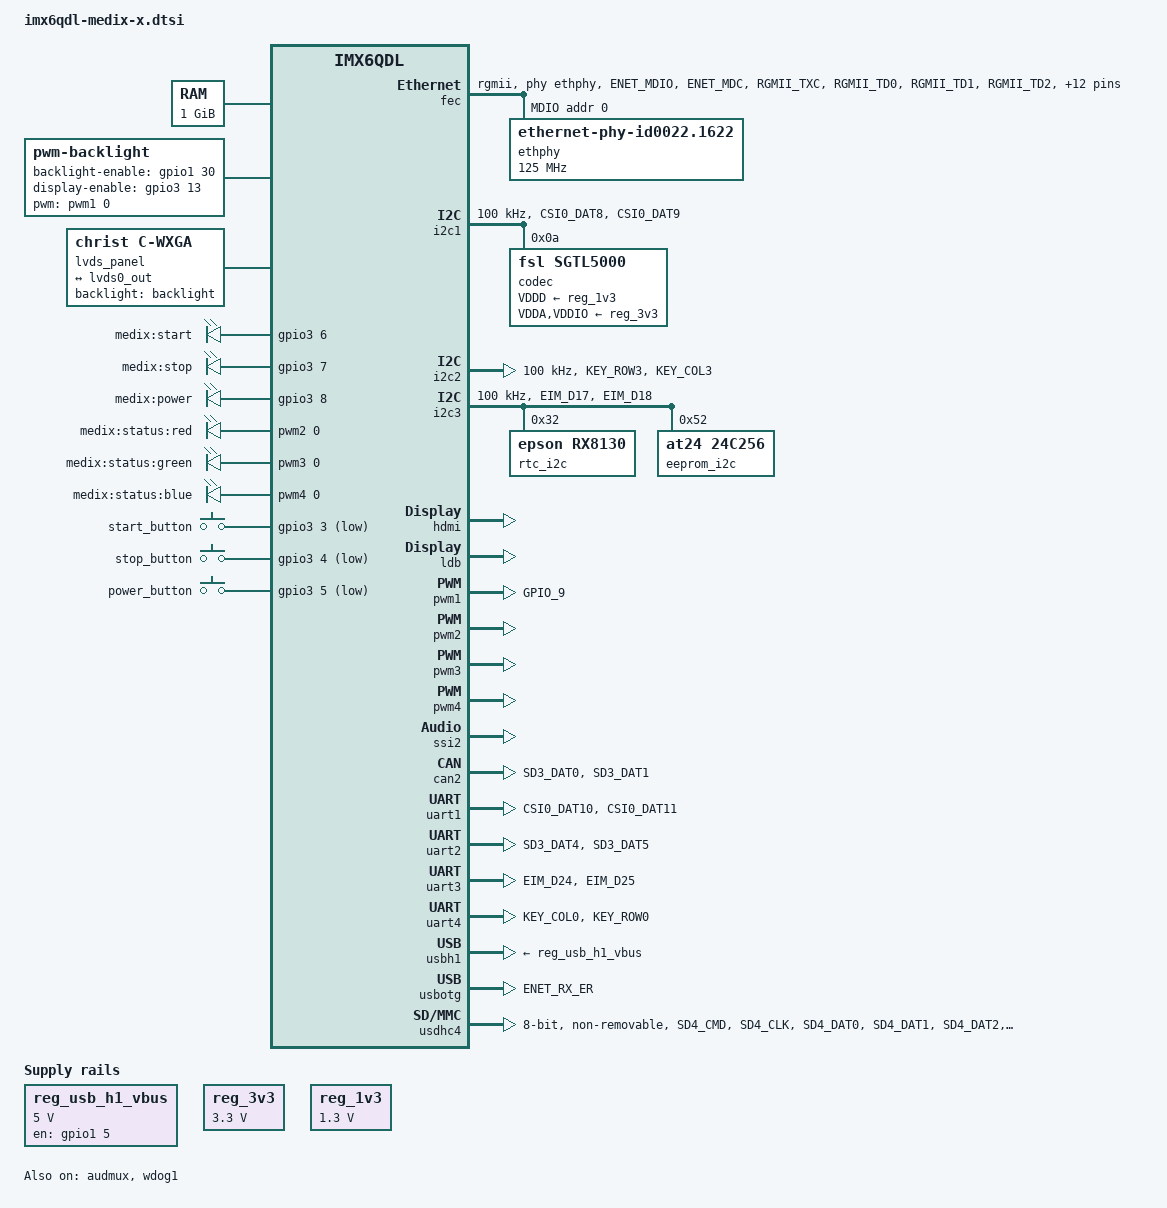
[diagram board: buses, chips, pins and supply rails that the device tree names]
// SPDX-License-Identifier: GPL-2.0+
/*
 * Copyright (C) 2019 Christ Electronic Systems GmbH
 * Peter Fink <pfink@christ-es.de>
 * Copyright 2012-2015 Freescale Semiconductor, Inc.
 * Copyright 2011 Linaro Ltd.
 *
 * The code contained herein is licensed under the GNU General Public
 * License. You may obtain a copy of the GNU General Public License
 * Version 2 or later at the following locations:
 *
 * http://www.opensource.org/licenses/gpl-license.html
 * http://www.gnu.org/copyleft/gpl.html
 */

#include <dt-bindings/clock/imx6qdl-clock.h>
#include <dt-bindings/gpio/gpio.h>
#include <dt-bindings/input/input.h>

/ {
	aliases {
		backlight_lvds = &backlight;
		fb_lvds = &lvds_panel;
		t_lvds = "/panel/panel-timing";
		ldb = &ldb;
	};

	chosen {
		stdout-path = &uart1;
	};

	memory@10000000 {
		reg = <0x10000000 0x40000000>;
	};

	regulators {
		compatible = "simple-bus";
		#address-cells = <1>;
		#size-cells = <0>;

		reg_usb_h1_vbus: regulator@1 {
			compatible = "regulator-fixed";
			reg = <0>;
			regulator-name = "usb_h1_vbus";
			regulator-min-microvolt = <5000000>;
			regulator-max-microvolt = <5000000>;
			pinctrl-names = "default";
			pinctrl-0 = <&pinctrl_usbhub_reset>; /* smsc2415 reset */
			gpio = <&gpio1 5 0>;
			enable-active-high;
			startup-delay-us = <2000>;
			status = "okay";
		};

		reg_3v3: regulator@2 {
			compatible = "regulator-fixed";
			regulator-name = "3P3V";
			regulator-min-microvolt = <3300000>;
			regulator-max-microvolt = <3300000>;
			regulator-always-on;
		};

		reg_1v3: regulator@3 {
			compatible = "regulator-fixed";
			regulator-name = "1P3V";
			regulator-min-microvolt = <1300000>;
			regulator-max-microvolt = <1300000>;
			regulator-always-on;
		};
	};

	backlight: backlight {
		compatible = "pwm-backlight";
		pwms = <&pwm1 0 1000000>;
		brightness-levels = <0 4 8 16 32 64 128 255>;
		default-brightness-level = <7>;
		pinctrl-0 = <&pinctrl_bkl>;
		backlight-enable-gpios = <&gpio1 30 0>;
		display-enable-gpios = <&gpio3 13 0>;
		pwm-on-delay-ms = <150>;
		pwm-off-delay-ms = <50>;
		status = "okay";
	};

	lvds_panel: panel {
		compatible = "christ,c-wxga", "panel-lvds";
		backlight = <&backlight>;

		width-mm = <261>;
		height-mm = <163>;

		data-mapping = "jeida-24";

		panel-timing {
			/* 1280x800 @58Hz */
			clock-frequency = <58339629>;
			hactive = <1280>;
			vactive = <800>;
			hsync-len = <40>;
			hfront-porch = <64>;
			hback-porch = <64>;
			vsync-len = <6>;
			vfront-porch = <5>;
			vback-porch = <5>;
		};

		port {
			panel_in: endpoint {
				remote-endpoint = <&lvds0_out>;
			};
		};
	};

	sound {
		compatible = "fsl,imx6qdl-medix-xx-sgtl5000",
			     "fsl,imx-audio-sgtl5000";
		model = "imx6q-medix-xx-sgtl5000";
		ssi-controller = <&ssi2>;
		audio-codec = <&codec>;
		audio-routing =
			"MIC_IN", "Mic Jack",
			"Ext Spk", "LINE_OUT";
		mux-int-port = <2>;
		mux-ext-port = <3>;
	};

	gpio-leds {
		compatible = "gpio-leds";
		pinctrl-names = "default";
		pinctrl-0 = <&pinctrl_front_leds>;

		led-start {
			label = "medix:start";
			gpios = <&gpio3 6 0>;
			default-state = "off";
		};

		led-stop {
			label = "medix:stop";
			gpios = <&gpio3 7 0>;
			default-state = "off";
		};

		led-power {
			label = "medix:power";
			gpios = <&gpio3 8 0>;
			linux,default-trigger = "heartbeat";
		};
	};

	pwm-leds {
		compatible = "pwm-leds";
		pinctrl-names = "default";
		pinctrl-0 = <&pinctrl_pwm_rgbstatus>;

		red {
			label = "medix:status:red";
			pwms = <&pwm2 0 50000>;
			max-brightness = <100>;
			initial-brightness = <0>;
		};

		green {
			label = "medix:status:green";
			pwms = <&pwm3 0 50000>;
			max-brightness = <100>;
			initial-brightness = <0>;
		};

		blue {
			label = "medix:status:blue";
			pwms = <&pwm4 0 50000>;
			max-brightness = <100>;
			initial-brightness = <0>;
		};

	};

	gpio-keys {
		compatible = "gpio-keys";
		pinctrl-names = "default";
		pinctrl-0 = <&pinctrl_front_keys>;

		start_button {
			label = "start_button";
			gpios = <&gpio3 3 GPIO_ACTIVE_LOW>;
			debounce-interval = <10>;
			linux,code = <102>; /* KEY_HOME */
		};

		stop_button {
			label = "stop_button";
			gpios = <&gpio3 4 GPIO_ACTIVE_LOW>;
			debounce-interval = <10>;
			linux,code = <119>; /* KEY_PAUSE */
		};

		power_button {
			label = "power_button";
			gpios = <&gpio3 5 GPIO_ACTIVE_LOW>;
			debounce-interval = <10>;
			linux,code = <113>; /* KEY_MUTE */
		};
	};
};

&clks {
	assigned-clocks = <&clks IMX6QDL_CLK_LDB_DI0_SEL>,
			  <&clks IMX6QDL_CLK_LDB_DI1_SEL>;
	assigned-clock-parents = <&clks IMX6QDL_CLK_PLL5_VIDEO>,
				 <&clks IMX6QDL_CLK_PLL5_VIDEO>;
};

&fec {
	pinctrl-names = "default";
	pinctrl-0 = <&pinctrl_enet>;
	phy-mode = "rgmii";
	interrupts-extended = <&gpio1 6 IRQ_TYPE_LEVEL_HIGH>,
			      <&intc 0 119 IRQ_TYPE_LEVEL_HIGH>;
	fsl,err006687-workaround-present;
	phy-handle = <&ethphy>;
	phy-reset-gpios = <&gpio1 25 GPIO_ACTIVE_LOW>;
	phy-reset-duration = <1>;
	txen-skew-ps = <0>;
	txc-skew-ps = <1680>;
	rxdv-skew-ps = <0>;
	rxc-skew-ps = <1680>;
	rxd0-skew-ps = <0>;
	rxd1-skew-ps = <0>;
	rxd2-skew-ps = <0>;
	rxd3-skew-ps = <0>;
	txd0-skew-ps = <0>;
	txd1-skew-ps = <0>;
	txd2-skew-ps = <0>;
	txd3-skew-ps = <0>;
	status = "okay";

	mdio {
		#address-cells = <1>;
		#size-cells = <0>;

		ethphy: ethernet-phy@0 {
			compatible = "ethernet-phy-id0022.1622", "ethernet-phy-ieee802.3-c22";
			reg = <0>;
			max-speed = <1000>;
			clock-frequency = <125000000>;
		};
	};
};

&i2c1 {
	clock-frequency = <100000>;
	pinctrl-names = "default";
	pinctrl-0 = <&pinctrl_i2c1>;
	status = "okay";

	codec: sgtl5000@0a {
		compatible = "fsl,sgtl5000";
		reg = <0x0a>;
		clocks = <&clks 201>;
		VDDD-supply = <&reg_1v3>;
		VDDA-supply = <&reg_3v3>;
		VDDIO-supply = <&reg_3v3>;
	};

};

&i2c2 {
	/* i2c2@HDMI */
	clock-frequency = <100000>;
	pinctrl-names = "default";
	pinctrl-0 = <&pinctrl_i2c2>;
	status = "okay";
};

&i2c3 {
	clock-frequency = <100000>;
	pinctrl-names = "default";
	pinctrl-0 = <&pinctrl_i2c3>;
	status = "okay";

        rtc_i2c: rtc@32 {
                compatible = "epson,rx8130";
                reg = <0x32>;
        };

        eeprom_i2c: at24@52 {
                compatible = "at24,24c256";
                pagesize = <32>;
                reg = <0x52>;
        };
};

&hdmi {
	pinctrl-names = "default";
	ddc-i2c-bus = <&i2c2>;
	status = "okay";
};

&audmux {
	pinctrl-names = "default";
	pinctrl-0 = <&pinctrl_audmux>;
	status = "okay";
};

&iomuxc {
	pinctrl-names = "default";
	pinctrl-0 = <&pinctrl_gpios>;

	imx6qdl-medix {
		pinctrl_enet: enetgrp {
			fsl,pins = <
				MX6QDL_PAD_ENET_MDIO__ENET_MDIO		0x1b0b0
				MX6QDL_PAD_ENET_MDC__ENET_MDC		0x1b0b0
				MX6QDL_PAD_RGMII_TXC__RGMII_TXC		0x1b0b0
				MX6QDL_PAD_RGMII_TD0__RGMII_TD0		0x1b0b0
				MX6QDL_PAD_RGMII_TD1__RGMII_TD1		0x1b0b0
				MX6QDL_PAD_RGMII_TD2__RGMII_TD2		0x1b0b0
				MX6QDL_PAD_RGMII_TD3__RGMII_TD3		0x1b0b0
				MX6QDL_PAD_RGMII_TX_CTL__RGMII_TX_CTL	0x1b0b0
				MX6QDL_PAD_ENET_REF_CLK__ENET_TX_CLK	0x1b0b0
				MX6QDL_PAD_RGMII_RXC__RGMII_RXC		0x1b0b0
				MX6QDL_PAD_RGMII_RD0__RGMII_RD0		0x1b0b0
				MX6QDL_PAD_RGMII_RD1__RGMII_RD1		0x1b0b0
				MX6QDL_PAD_RGMII_RD2__RGMII_RD2		0x1b0b0
				MX6QDL_PAD_RGMII_RD3__RGMII_RD3		0x1b0b0
				MX6QDL_PAD_RGMII_RX_CTL__RGMII_RX_CTL	0x1b0b0
				MX6QDL_PAD_ENET_CRS_DV__GPIO1_IO25	0x1b0b0 /* reset pin */
				MX6QDL_PAD_GPIO_6__ENET_IRQ		0x000b1 /* workaround for err006687 */
			>;
		};

		pinctrl_bkl: gpio_bkl {
			fsl,pins = <
				MX6QDL_PAD_EIM_DA13__GPIO3_IO13		0x130b0 /* PD */
				MX6QDL_PAD_ENET_TXD0__GPIO1_IO30	0x130b0 /* PD */
			>;
		};

		pinctrl_audmux: audmuxgrp {
			fsl,pins = <
				MX6QDL_PAD_CSI0_DAT4__AUD3_TXC			0x130b0
				MX6QDL_PAD_CSI0_DAT5__AUD3_TXD			0x110b0
				MX6QDL_PAD_CSI0_DAT6__AUD3_TXFS			0x130b0
				MX6QDL_PAD_CSI0_DAT7__AUD3_RXD			0x130b0
				/* SGTL5000 sys_mclk */
				MX6QDL_PAD_GPIO_0__CCM_CLKO1			0x03088
			>;
		};

		pinctrl_front_leds: gpio_front_leds {
			fsl,pins = <
				MX6QDL_PAD_EIM_DA6__GPIO3_IO06	0x130b0 /* FRONT_O1 PD */
				MX6QDL_PAD_EIM_DA7__GPIO3_IO07	0x130b0 /* FRONT_O2 PD */
				MX6QDL_PAD_EIM_DA8__GPIO3_IO08	0x130b0 /* FRONT_O3 PD */
			>;
		};

		pinctrl_front_keys: gpio_front_keys {
			fsl,pins = <
				MX6QDL_PAD_EIM_DA3__GPIO3_IO03	0x1b0b1 /* FRONT_I1 PU */
				MX6QDL_PAD_EIM_DA4__GPIO3_IO04	0x1b0b1 /* FRONT_I2 PU */
				MX6QDL_PAD_EIM_DA5__GPIO3_IO05	0x1b0b1 /* FRONT_I3 PU */
			>;
		};

		pinctrl_gpios: gpios1 {
			fsl,pins = <
				MX6QDL_PAD_DI0_PIN2__GPIO4_IO18		0x1b0b1 /* INTF_24_IN1 PU */
				MX6QDL_PAD_DI0_PIN3__GPIO4_IO19		0x1b0b1 /* INTF_24_IN2 PU */
				MX6QDL_PAD_DI0_PIN4__GPIO4_IO20		0x130b0 /* INTF_24_OUT1 PD */
				MX6QDL_PAD_CSI0_DAT12__GPIO5_IO30	0x130b0 /* SD_AUDIO_AMP PD */
				MX6QDL_PAD_CSI0_VSYNC__GPIO5_IO21	0x1b0b1 /* SWITCH PU */
			>;
		};

		pinctrl_i2c1: i2c1grp {
			fsl,pins = <
				MX6QDL_PAD_CSI0_DAT8__I2C1_SDA		0x4001b8b1
				MX6QDL_PAD_CSI0_DAT9__I2C1_SCL		0x4001b8b1
			>;
		};

		pinctrl_i2c2: i2c2grp {
			fsl,pins = <
				MX6QDL_PAD_KEY_ROW3__I2C2_SDA		0x4001b8b1
				MX6QDL_PAD_KEY_COL3__I2C2_SCL		0x4001b8b1
			>;
		};

		pinctrl_i2c3: i2c3grp {
			fsl,pins = <
				MX6QDL_PAD_EIM_D17__I2C3_SCL		0x4001b8b1
				MX6QDL_PAD_EIM_D18__I2C3_SDA		0x4001b8b1
			>;
		};

		pinctrl_pwm1: pwm1grp {
			fsl,pins = <
				MX6QDL_PAD_GPIO_9__PWM1_OUT		0x1b0b1
			>;
		};

		pinctrl_pwm_rgbstatus: rgbpwm {
			fsl,pins = <
				MX6QDL_PAD_SD1_DAT2__PWM2_OUT		0x1b0b1
				MX6QDL_PAD_SD1_DAT1__PWM3_OUT		0x1b0b1
				MX6QDL_PAD_SD1_CMD__PWM4_OUT		0x1b0b1
			>;
		};

		pinctrl_uart1: uart1grp {
			fsl,pins = <
				MX6QDL_PAD_CSI0_DAT10__UART1_TX_DATA	0x1b0b1
				MX6QDL_PAD_CSI0_DAT11__UART1_RX_DATA	0x1b0b1
			>;
		};

		pinctrl_uart2: uart2grp {
			fsl,pins = <
				MX6QDL_PAD_SD3_DAT4__UART2_RX_DATA	0x1b0b1
				MX6QDL_PAD_SD3_DAT5__UART2_TX_DATA	0x1b0b1
			>;
		};

		pinctrl_uart3: uart3grp {
			fsl,pins = <
				MX6QDL_PAD_EIM_D24__UART3_TX_DATA	0x1b0b1
				MX6QDL_PAD_EIM_D25__UART3_RX_DATA	0x1b0b1
			>;
		};

		pinctrl_uart4: uart4grp {
			fsl,pins = <
				MX6QDL_PAD_KEY_COL0__UART4_TX_DATA	0x1b0b1
				MX6QDL_PAD_KEY_ROW0__UART4_RX_DATA	0x1b0b1
			>;
		};

		pinctrl_usbotg: usbotggrp {
			fsl,pins = <
				MX6QDL_PAD_ENET_RX_ER__USB_OTG_ID	0x17059
			>;
		};

		pinctrl_usbhub_reset: usbhub_reset {
			fsl,pins = <
				MX6QDL_PAD_GPIO_5__GPIO1_IO05		0x130b0 /* PD */
			>;
		};

		pinctrl_usdhc4: usdhc4grp {
			fsl,pins = <
				MX6QDL_PAD_SD4_CMD__SD4_CMD		0x17059
				MX6QDL_PAD_SD4_CLK__SD4_CLK		0x10059
				MX6QDL_PAD_SD4_DAT0__SD4_DATA0		0x17059
				MX6QDL_PAD_SD4_DAT1__SD4_DATA1		0x17059
				MX6QDL_PAD_SD4_DAT2__SD4_DATA2		0x17059
				MX6QDL_PAD_SD4_DAT3__SD4_DATA3		0x17059
				MX6QDL_PAD_SD4_DAT4__SD4_DATA4		0x17059
				MX6QDL_PAD_SD4_DAT5__SD4_DATA5		0x17059
				MX6QDL_PAD_SD4_DAT6__SD4_DATA6		0x17059
				MX6QDL_PAD_SD4_DAT7__SD4_DATA7		0x17059
				MX6QDL_PAD_NANDF_ALE__SD4_RESET		0x17059
			>;
		};

		pinctrl_flexcan2: can2grp {
			fsl,pins = <
				MX6QDL_PAD_SD3_DAT0__FLEXCAN2_TX	0x1b0b0
				MX6QDL_PAD_SD3_DAT1__FLEXCAN2_RX	0x1b0b0
			>;
		};
	};
};

&ldb {
	status = "okay";

	lvds-channel@0 {
		fsl,data-mapping = "spwg";
		fsl,data-width = <18>;
		status = "okay";

		port@4 {
			reg = <4>;

			lvds0_out: endpoint {
				remote-endpoint = <&panel_in>;
			};
		};
	};
};

&pwm1 {
	pinctrl-names = "default";
	pinctrl-0 = <&pinctrl_pwm1>;
	status = "okay";
};

&pwm2 {
	status = "okay";
};

&pwm3 {
	status = "okay";
};

&pwm4 {
	status = "okay";
};

&snvs_poweroff {
	status = "okay";
};

&ssi2 {
	fsl,mode = "i2s-slave";
	status = "okay";
};

&can2 {
	pinctrl-names = "default";
	pinctrl-0 = <&pinctrl_flexcan2>;
	status = "okay";
};

&uart1 {
	pinctrl-names = "default";
	pinctrl-0 = <&pinctrl_uart1>;
	status = "okay";
};

&uart2 {
	pinctrl-names = "default";
	pinctrl-0 = <&pinctrl_uart2>;
	status = "okay";
};

&uart3 {
	pinctrl-names = "default";
	pinctrl-0 = <&pinctrl_uart3>;
	status = "okay";
};

&uart4 {
	pinctrl-names = "default";
	pinctrl-0 = <&pinctrl_uart4>;
	status = "okay";
};

&usbh1 {
	vbus-supply = <&reg_usb_h1_vbus>;
	status = "okay";
};

&usbotg {
	pinctrl-names = "default";
	pinctrl-0 = <&pinctrl_usbotg>;
	disable-over-current;
	srp-disable;
	hnp-disable;
	adp-disable;
	status = "okay";
};

&usdhc4 {
	pinctrl-names = "default";
	pinctrl-0 = <&pinctrl_usdhc4>;
	bus-width = <8>;
	non-removable;
	no-1-8-v;
	keep-power-in-suspend;
	status = "okay";
};

&wdog1 {
	status = "okay";
};

&wdog2 {
	status = "disabled";
};
